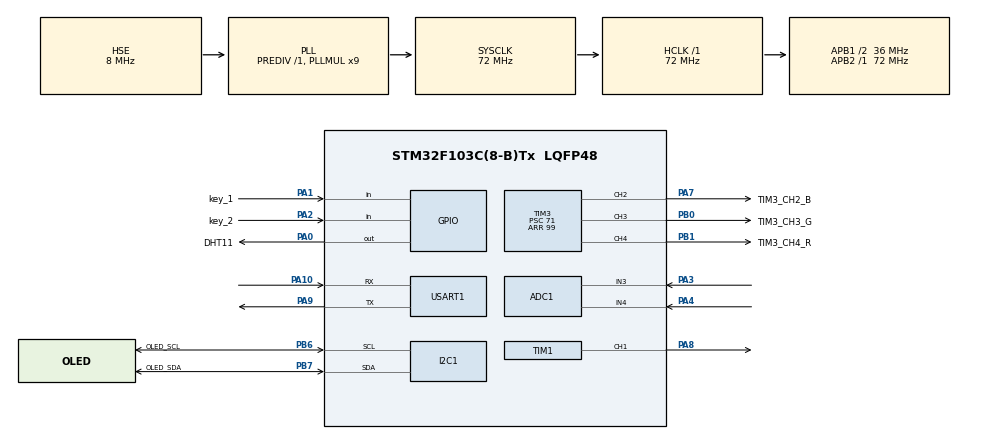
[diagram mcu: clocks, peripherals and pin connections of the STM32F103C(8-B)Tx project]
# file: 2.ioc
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ADC1.Channel-14\#ChannelRegularConversion=ADC_CHANNEL_VREFINT
ADC1.Channel-15\#ChannelRegularConversion=ADC_CHANNEL_3
ADC1.Channel-16\#ChannelRegularConversion=ADC_CHANNEL_4
ADC1.ContinuousConvMode=ENABLE
ADC1.NbrOfConversion=3
ADC1.NbrOfConversionFlag=1
ADC1.Rank-14\#ChannelRegularConversion=1
ADC1.Rank-15\#ChannelRegularConversion=2
ADC1.Rank-16\#ChannelRegularConversion=3
ADC1.SamplingTime-14\#ChannelRegularConversion=ADC_SAMPLETIME_71CYCLES_5
ADC1.SamplingTime-15\#ChannelRegularConversion=ADC_SAMPLETIME_71CYCLES_5
ADC1.SamplingTime-16\#ChannelRegularConversion=ADC_SAMPLETIME_71CYCLES_5
ADC1.master=1
Dma.ADC1.0.Direction=DMA_PERIPH_TO_MEMORY
Dma.ADC1.0.Instance=DMA1_Channel1
Dma.ADC1.0.MemDataAlignment=DMA_MDATAALIGN_HALFWORD
Dma.ADC1.0.MemInc=DMA_MINC_ENABLE
Dma.ADC1.0.Mode=DMA_CIRCULAR
Dma.ADC1.0.PeriphDataAlignment=DMA_PDATAALIGN_HALFWORD
Dma.ADC1.0.PeriphInc=DMA_PINC_DISABLE
Dma.ADC1.0.Priority=DMA_PRIORITY_LOW
Dma.Request0=ADC1
Dma.Request1=USART1_TX
Dma.Request2=USART1_RX
Dma.USART1_RX.2.Direction=DMA_PERIPH_TO_MEMORY
Dma.USART1_RX.2.Instance=DMA1_Channel5
Dma.USART1_RX.2.MemDataAlignment=DMA_MDATAALIGN_BYTE
Dma.USART1_RX.2.MemInc=DMA_MINC_ENABLE
Dma.USART1_RX.2.Mode=DMA_NORMAL
Dma.USART1_RX.2.PeriphDataAlignment=DMA_PDATAALIGN_BYTE
Dma.USART1_RX.2.PeriphInc=DMA_PINC_DISABLE
Dma.USART1_RX.2.Priority=DMA_PRIORITY_LOW
Dma.USART1_TX.1.Direction=DMA_MEMORY_TO_PERIPH
Dma.USART1_TX.1.Instance=DMA1_Channel4
Dma.USART1_TX.1.MemDataAlignment=DMA_MDATAALIGN_BYTE
Dma.USART1_TX.1.MemInc=DMA_MINC_ENABLE
Dma.USART1_TX.1.Mode=DMA_NORMAL
Dma.USART1_TX.1.PeriphDataAlignment=DMA_PDATAALIGN_BYTE
Dma.USART1_TX.1.PeriphInc=DMA_PINC_DISABLE
Dma.USART1_TX.1.Priority=DMA_PRIORITY_LOW
I2C1.I2C_Mode=I2C_Fast
Mcu.Family=STM32F1
Mcu.Name=STM32F103C(8-B)Tx
Mcu.Package=LQFP48
NVIC.DMA1_Channel1_IRQn=true\:0\:0\:false\:false\:true\:false\:true\:true
NVIC.DMA1_Channel4_IRQn=true\:0\:0\:false\:false\:true\:false\:true\:true
NVIC.DMA1_Channel5_IRQn=true\:0\:0\:false\:false\:true\:false\:true\:true
NVIC.PriorityGroup=NVIC_PRIORITYGROUP_4
NVIC.USART1_IRQn=true\:0\:0\:false\:false\:true\:false\:true\:true
PA0-WKUP.GPIO_Label=DHT11
PA0-WKUP.GPIO_ModeDefaultOutputPP=GPIO_MODE_OUTPUT_OD
PA0-WKUP.GPIO_PuPd=GPIO_PULLUP
PA0-WKUP.GPIO_Speed=GPIO_SPEED_FREQ_HIGH
PA0-WKUP.PinState=GPIO_PIN_SET
PA0-WKUP.Signal=GPIO_Output
PA1.GPIO_Label=key_1
PA1.GPIO_PuPd=GPIO_PULLUP
PA1.Signal=GPIO_Input
PA10.Mode=Asynchronous
PA10.Signal=USART1_RX
PA13.Mode=Serial_Wire
PA13.Signal=SYS_JTMS-SWDIO
PA14.Mode=Serial_Wire
PA14.Signal=SYS_JTCK-SWCLK
PA2.GPIO_Label=key_2
PA2.GPIO_PuPd=GPIO_PULLUP
PA2.Signal=GPIO_Input
PA3.Signal=ADCx_IN3
PA4.Signal=ADCx_IN4
PA7.GPIO_Label=TIM3_CH2_B
PA7.Signal=S_TIM3_CH2
PA8.Signal=S_TIM1_CH1
PA9.Mode=Asynchronous
PA9.Signal=USART1_TX
PB0.GPIO_Label=TIM3_CH3_G
PB0.Signal=S_TIM3_CH3
PB1.GPIO_Label=TIM3_CH4_R
PB1.Signal=S_TIM3_CH4
PB6.GPIO_Label=OLED_SCL
PB6.Mode=I2C
PB6.Signal=I2C1_SCL
PB7.GPIO_Label=OLED_SDA
PB7.Mode=I2C
PB7.Signal=I2C1_SDA
PD0-OSC_IN.Mode=HSE-External-Oscillator
PD0-OSC_IN.Signal=RCC_OSC_IN
PD1-OSC_OUT.Mode=HSE-External-Oscillator
PD1-OSC_OUT.Signal=RCC_OSC_OUT
ProjectManager.HeapSize=0x200
ProjectManager.StackSize=0x400
ProjectManager.TargetToolchain=MDK-ARM V5.32
RCC.ADCPresc=RCC_ADCPCLK2_DIV6
RCC.AHBFreq_Value=72000000
RCC.APB1CLKDivider=RCC_HCLK_DIV2
RCC.APB1Freq_Value=36000000
RCC.APB1TimFreq_Value=72000000
RCC.APB2Freq_Value=72000000
RCC.APB2TimFreq_Value=72000000
RCC.HCLKFreq_Value=72000000
RCC.PLLMUL=RCC_PLL_MUL9
RCC.PLLSourceVirtual=RCC_PLLSOURCE_HSE
RCC.SYSCLKFreq_VALUE=72000000
RCC.SYSCLKSource=RCC_SYSCLKSOURCE_PLLCLK
RCC.USBFreq_Value=72000000
SH.ADCx_IN3.0=ADC1_IN3,IN3
SH.ADCx_IN4.0=ADC1_IN4,IN4
SH.S_TIM1_CH1.0=TIM1_CH1,PWM Generation1 CH1
SH.S_TIM3_CH2.0=TIM3_CH2,PWM Generation2 CH2
SH.S_TIM3_CH3.0=TIM3_CH3,PWM Generation3 CH3
SH.S_TIM3_CH4.0=TIM3_CH4,PWM Generation4 CH4
TIM1.Channel-PWM\ Generation1\ CH1=TIM_CHANNEL_1
TIM1.Period=499
TIM1.Prescaler=71
TIM3.Channel-PWM\ Generation2\ CH2=TIM_CHANNEL_2
TIM3.Channel-PWM\ Generation3\ CH3=TIM_CHANNEL_3
TIM3.Channel-PWM\ Generation4\ CH4=TIM_CHANNEL_4
TIM3.Period=99
TIM3.Prescaler=71
USART1.VirtualMode=VM_ASYNC
VP_ADC1_Vref_Input.Mode=IN-Vrefint
VP_TIM3_VS_ClockSourceINT.Mode=Internal
board=custom

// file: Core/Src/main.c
/* USER CODE BEGIN Header */
/**
  ******************************************************************************
  * @file           : main.c
  * @brief          : Main program body
  ******************************************************************************
  * @attention
  *
  * Copyright (c) 2026 STMicroelectronics.
  * All rights reserved.
  *
  * This software is licensed under terms that can be found in the LICENSE file
  * in the root directory of this software component.
  * If no LICENSE file comes with this software, it is provided AS-IS.
  *
  ******************************************************************************
  */
/* USER CODE END Header */
#include "main.h"
#include "adc.h"
#include "dma.h"
#include "i2c.h"
#include "tim.h"
#include "usart.h"
#include "gpio.h"

/* USER CODE BEGIN Includes */
#include <stdio.h>
#include <string.h>
#include "dht11.h"
#include "oled.h"
/* USER CODE END Includes */

/* USER CODE BEGIN PD */

/* 宏定义 — 系统状态 / 告警阈值 / 定时器参数 */
/* USER CODE BEGIN PD */

/* 系统状态, 后面用 switch 判断 */
#define STATE_IDLE     0   /* 还没按 KEY1, 等启动 */
#define STATE_SAFE     1   /* 一切正常 */
#define STATE_ERROR1   2   /* 温度超了 */
#define STATE_ERROR2   3   /* 电压不对 */

/* 阈值 */
#define TEMP_THRESHOLD    28.0f   /* 温度阈值: 28°C */
#define VOLT_THRESHOLD    2.0f    /* 电压阈值: 2.0V */

/*ADC 通道索引 (与 CubeMX 配置的 Rank 顺序一致)*/
#define ADC_IDX_VREF      0   /* 内部基准电压, 用于反算 VDDA */
#define ADC_IDX_CH3       1   /* PA3: 电位器1 */
#define ADC_IDX_CH4       2   /* PA4: 电位器2 */
#define ADC_CHANNELS      3

/* 按键 */
#define LONG_PRESS_MS     1500    /* 长按判定时间 */

/*  蜂鸣器 PWM (TIM1 CH4, 定时器时钟 1MHz)  */
#define BUZZER_1KHZ_ARR   999     /* 1kHz: 1M / (999+1) */
#define BUZZER_2KHZ_ARR   499     /* 2kHz: 1M / (499+1) */

/*  RGB LED PWM (TIM3 CH2/3/4, ARR=99)  */
#define RGB_MAX           99      /* 满亮度占空比 */

/* USER CODE END PD */

/* USER CODE BEGIN PV */

/*  全局变量 */
/* USER CODE BEGIN PV */

/*  ADC + DMA  */
volatile uint16_t adcBuf[ADC_CHANNELS] = {0};  /* DMA 循环缓冲区 */

/* DHT11 数据 */
DHT11_Data dht11Data;
float temperature = 0.0f;          /* 当前温度 (°C) */
float vref_voltage  = 0.0f;        /* 由 VREFINT 反算的实际 VDDA */
float voltage_ch3   = 0.0f;        /* PA3 电位器电压 */
float voltage_ch4   = 0.0f;        /* PA4 电位器电压 */

/*  系统状态  */
uint8_t sysState = STATE_IDLE;     /* 当前状态 */
uint8_t sysRunning = 0;            /* 0=待启动, 1=采集中 */

/*  告警闪烁 / 蜂鸣计时  */
uint32_t lastBlinkTick = 0;
uint32_t lastBuzzerTick = 0;
uint8_t  blinkState = 0;           /* 0=LED灭, 1=LED亮 */
uint8_t  buzzerState = 0;          /* 0=静音, 1=鸣叫 */

/*  按键  */
uint8_t  key1Pressed = 0;          /* KEY1 去抖标志 */
uint32_t key2PressStart = 0;       /* KEY2 按下时刻 */
uint8_t  alarmLatched = 0;         /* FSAE 锁存: 1=告警已锁存，需手动复位＋故障排除 */

/* USER CODE END PV */

void SystemClock_Config(void);
/* USER CODE BEGIN PFP */
void  ADC_StartDMA(void);
float ADC_CalcVoltage(uint16_t adcVal);
void  Buzzer_SetFreq(uint16_t arr, uint16_t ccr);
void  Buzzer_Off(void);
void  RGB_SetColor(uint16_t r, uint16_t g, uint16_t b);
void  RGB_Off(void);
void  Key_Scan(void);
void  Alarm_Handler(void);
void  OLED_UpdateDisplay(void);
/* USER CODE END PFP */

/* USER CODE BEGIN 0 */

int fputc(int ch, FILE *f)
{
    HAL_UART_Transmit(&huart1, (uint8_t *)&ch, 1, HAL_MAX_DELAY);
    return ch;
}

/* USER CODE END 0 */

int main(void)
{

  /* MCU Configuration--------------------------------------------------------*/

  /* Reset of all peripherals, Initializes the Flash interface and the Systick. */
  HAL_Init();

  /* USER CODE BEGIN Init */

  /* 强制复位 I2C1 外设, 防止总线挂死后复位也无法恢复 */
  __HAL_RCC_I2C1_CLK_ENABLE();
  __HAL_RCC_I2C1_FORCE_RESET();
  __HAL_RCC_I2C1_RELEASE_RESET();

  /* USER CODE END Init */

  /* Configure the system clock */
  SystemClock_Config();

  /* Initialize all configured peripherals */
  MX_GPIO_Init();
  MX_DMA_Init();
  MX_I2C1_Init();
  MX_ADC1_Init();
  MX_USART1_UART_Init();
  MX_TIM3_Init();
  MX_TIM1_Init();
  /* USER CODE BEGIN 2 */

  /* 初始化 DWT */
  CoreDebug->DEMCR |= CoreDebug_DEMCR_TRCENA_Msk;
  DWT->CYCCNT = 0;
  DWT->CTRL |= DWT_CTRL_CYCCNTENA_Msk;

  /*  初始化 OLED 并显示欢迎界面  */
  OLED_Init();
  OLED_ShowString(0, 0, "System Ready", 8);
  OLED_ShowString(0, 2, "Press KEY1 Start", 8);
  HAL_Delay(1000);

  /*  启动 ADC + DMA 连续采集  */
  ADC_StartDMA();

  /*  初始状态: 关闭所有输出  */
  RGB_Off();
  Buzzer_Off();

  printf("\r\n========== FSAE Signal Monitor ==========\r\n");
  printf("H/W: STM32F103 | HSE 72MHz | DHT11 + ADCx2\r\n");
  printf("Thresholds: Temp>28C | Volt<2.0V\r\n");
  printf("Press KEY1 to start acquisition\r\n");

  /* USER CODE END 2 */

  /* Infinite loop */
  /* USER CODE BEGIN WHILE */
  while (1)
  {
    /*  按键扫描  */
    Key_Scan();

    if (sysRunning)
    {
        /* 读取 DHT11  */
        if (DHT11_Read(&dht11Data) == 0)
            temperature = (float)dht11Data.temperature;

        /* 计算各路电压 */
        /* 先根据 VREFINT 校准计算 VDDA */
        uint16_t vref_adc = adcBuf[ADC_IDX_VREF];
        vref_voltage = 1.20f * 4096.0f / (float)vref_adc;

        /* 各通道电压 = ADC值 * VDDA / 4096 */
        voltage_ch3 = ADC_CalcVoltage(adcBuf[ADC_IDX_CH3]);
        voltage_ch4 = ADC_CalcVoltage(adcBuf[ADC_IDX_CH4]);

        /* ── 告警判断 (FSAE 锁存逻辑) ── */

        /* 未锁存时才检测新告警 */
        if (!alarmLatched)
        {
            if (temperature > TEMP_THRESHOLD)
            {
                sysState = STATE_ERROR1;
                alarmLatched = 1;   /* 锁存! 即使温度恢复正常也不自动清除 */
            }
            else if (voltage_ch3 < VOLT_THRESHOLD || voltage_ch4 < VOLT_THRESHOLD)
            {
                sysState = STATE_ERROR2;
                alarmLatched = 1;   /* 锁存! */
            }
            else
            {
                sysState = STATE_SAFE;
            }
        }
        /* 已锁存 → 保持告警状态, 不管当前读数是否恢复 */

        /*  告警处理 (LED + 蜂鸣器)  */
        Alarm_Handler();

        /*  OLED 显示更新  */
        OLED_UpdateDisplay();

        /*  串口打印  */
        {
            const char *stateStr = "IDLE";
            if (sysState == STATE_SAFE)   stateStr = "SAFE";
            if (sysState == STATE_ERROR1) stateStr = "ERROR1";
            if (sysState == STATE_ERROR2) stateStr = "ERROR2";
            printf("Temp:%dC  V3:%d.%02dV  V4:%d.%02dV  State:%s\r\n",
                   (int)temperature,
                   (int)voltage_ch3, (int)(voltage_ch3 * 100) % 100,
                   (int)voltage_ch4, (int)(voltage_ch4 * 100) % 100,
                   stateStr);
        }
    }
    else
    {
        /* 未启动时显示提示 */
        OLED_Clear();
        OLED_ShowString(0, 2, "Press KEY1", 8);
        OLED_ShowString(0, 3, "to Start", 8);
    }

    HAL_Delay(200);  /* 主循环周期 ~200ms */
    /* USER CODE END WHILE */

  }
}

void SystemClock_Config(void)
{
  RCC_OscInitTypeDef RCC_OscInitStruct = {0};
  RCC_ClkInitTypeDef RCC_ClkInitStruct = {0};
  RCC_PeriphCLKInitTypeDef PeriphClkInit = {0};

  /** Initializes the RCC Oscillators according to the specified parameters
  * in the RCC_OscInitTypeDef structure.
  */
  RCC_OscInitStruct.OscillatorType = RCC_OSCILLATORTYPE_HSE;
  RCC_OscInitStruct.HSEState = RCC_HSE_ON;
  RCC_OscInitStruct.HSEPredivValue = RCC_HSE_PREDIV_DIV1;
  RCC_OscInitStruct.HSIState = RCC_HSI_ON;
  RCC_OscInitStruct.PLL.PLLState = RCC_PLL_ON;
  RCC_OscInitStruct.PLL.PLLSource = RCC_PLLSOURCE_HSE;
  RCC_OscInitStruct.PLL.PLLMUL = RCC_PLL_MUL9;
  if (HAL_RCC_OscConfig(&RCC_OscInitStruct) != HAL_OK)
  {
    Error_Handler();
  }

  /** Initializes the CPU, AHB and APB buses clocks
  */
  RCC_ClkInitStruct.ClockType = RCC_CLOCKTYPE_HCLK|RCC_CLOCKTYPE_SYSCLK
                              |RCC_CLOCKTYPE_PCLK1|RCC_CLOCKTYPE_PCLK2;
  RCC_ClkInitStruct.SYSCLKSource = RCC_SYSCLKSOURCE_PLLCLK;
  RCC_ClkInitStruct.AHBCLKDivider = RCC_SYSCLK_DIV1;
  RCC_ClkInitStruct.APB1CLKDivider = RCC_HCLK_DIV2;
  RCC_ClkInitStruct.APB2CLKDivider = RCC_HCLK_DIV1;

  if (HAL_RCC_ClockConfig(&RCC_ClkInitStruct, FLASH_LATENCY_2) != HAL_OK)
  {
    Error_Handler();
  }
  PeriphClkInit.PeriphClockSelection = RCC_PERIPHCLK_ADC;
  PeriphClkInit.AdcClockSelection = RCC_ADCPCLK2_DIV6;
  if (HAL_RCCEx_PeriphCLKConfig(&PeriphClkInit) != HAL_OK)
  {
    Error_Handler();
  }
}

/* USER CODE BEGIN 4 */

/* ================================================================
 * 启动 ADC + DMA 连续循环采集 (ContinuousConvMode=ENABLE)
 * ================================================================ */
void ADC_StartDMA(void)
{
    HAL_ADC_Start_DMA(&hadc1, (uint32_t *)adcBuf, ADC_CHANNELS);
}

/* ================================================================
 * 根据 ADC 值计算电压 (基于 VREFINT 校准)
 * ================================================================ */
float ADC_CalcVoltage(uint16_t adcVal)
{
    return (float)adcVal * vref_voltage / 4096.0f;
}

/* ================================================================
 * 蜂鸣器: 设置频率 (TIM1 CH1, PA8)
 *   arr: 自动重装载值
 *   ccr: 比较值 (占空比 50%: arr/2)
 * ================================================================ */
void Buzzer_SetFreq(uint16_t arr, uint16_t ccr)
{
    __HAL_TIM_SET_AUTORELOAD(&htim1, arr);
    __HAL_TIM_SET_COMPARE(&htim1, TIM_CHANNEL_1, ccr);
    HAL_TIM_PWM_Start(&htim1, TIM_CHANNEL_1);
}

void Buzzer_Off(void)
{
    HAL_TIM_PWM_Stop(&htim1, TIM_CHANNEL_1);
    __HAL_TIM_SET_COMPARE(&htim1, TIM_CHANNEL_1, 0);
}

/* ================================================================
 * RGB LED 控制 (TIM3 CH2=蓝PA7, CH3=绿PB0, CH4=红PB1)
 *   ARR=99 → 占空比范围 0~99
 * ================================================================ */
void RGB_SetColor(uint16_t r, uint16_t g, uint16_t b)
{
    __HAL_TIM_SET_COMPARE(&htim3, TIM_CHANNEL_4, r);
    __HAL_TIM_SET_COMPARE(&htim3, TIM_CHANNEL_3, g);
    __HAL_TIM_SET_COMPARE(&htim3, TIM_CHANNEL_2, b);
    HAL_TIM_PWM_Start(&htim3, TIM_CHANNEL_2);
    HAL_TIM_PWM_Start(&htim3, TIM_CHANNEL_3);
    HAL_TIM_PWM_Start(&htim3, TIM_CHANNEL_4);
}

void RGB_Off(void)
{
    HAL_TIM_PWM_Stop(&htim3, TIM_CHANNEL_2);
    HAL_TIM_PWM_Stop(&htim3, TIM_CHANNEL_3);
    HAL_TIM_PWM_Stop(&htim3, TIM_CHANNEL_4);
    __HAL_TIM_SET_COMPARE(&htim3, TIM_CHANNEL_2, 0);
    __HAL_TIM_SET_COMPARE(&htim3, TIM_CHANNEL_3, 0);
    __HAL_TIM_SET_COMPARE(&htim3, TIM_CHANNEL_4, 0);
}

/* ================================================================
 * 按键扫描
 *   KEY1 (PA1): 短按 → 启动采集
 *   KEY2 (PA2): 长按 > LONG_PRESS_MS → 复位告警锁存
 *     仅当故障已排除 (温度/电压均正常) 时才允许清除 (FSAE 安全回路规范)
 * ═══════════════════════════════════════════════════════════════════════════ */
void Key_Scan(void)
{
    /* ── KEY1: 按下启动采集 ── */
    if (HAL_GPIO_ReadPin(key_1_GPIO_Port, key_1_Pin) == GPIO_PIN_RESET)
    {
        HAL_Delay(20); /* 消抖 */
        if (HAL_GPIO_ReadPin(key_1_GPIO_Port, key_1_Pin) == GPIO_PIN_RESET)
        {
            if (!key1Pressed)
            {
                key1Pressed = 1;
                sysRunning = 1;
                sysState = STATE_SAFE;
                OLED_Clear();
                printf("KEY1 Pressed - Acquisition Started\r\n");
            }
        }
    }
    else { key1Pressed = 0; }

    /* ── KEY2: 长按复位锁存 ── */
    if (HAL_GPIO_ReadPin(key_2_GPIO_Port, key_2_Pin) == GPIO_PIN_RESET)
    {
        if (key2PressStart == 0)
        {
            key2PressStart = HAL_GetTick();
        }
        else if ((HAL_GetTick() - key2PressStart) > LONG_PRESS_MS)
        {
            if (temperature <= TEMP_THRESHOLD
                && voltage_ch3 >= VOLT_THRESHOLD
                && voltage_ch4 >= VOLT_THRESHOLD)
            {
                alarmLatched = 0;
                sysState = STATE_SAFE;
                RGB_Off();
                Buzzer_Off();
                OLED_Clear();
                printf("KEY2 Long Press - Alarm Reset OK\r\n");
            }
            else
            {
                printf("KEY2 Long Press - FAIL: Fault still present!\r\n");
            }
            key2PressStart = 0;
        }
    }
    else { key2PressStart = 0; }
}

/* ================================================================
 * 告警处理: LED 闪烁 + 蜂鸣器
 *
 * SAFE:    绿灯常亮,            蜂鸣器静音
 * ERROR1:  红灯 1Hz 闪烁,       蜂鸣器 1kHz 间歇 (0.5s 周期)
 * ERROR2:  蓝灯 2Hz 闪烁,       蜂鸣器 2kHz 间歇 (0.2s 周期)
 * ═══════════════════════════════════════════════════════════════════════════ */
void Alarm_Handler(void)
{
    uint32_t now = HAL_GetTick();

    switch (sysState)
    {
    case STATE_SAFE:
        RGB_SetColor(0, RGB_MAX, 0);
        Buzzer_Off();
        break;

    case STATE_ERROR1:
    {
        uint32_t half = 500;
        if ((now - lastBlinkTick) >= half) { lastBlinkTick = now; blinkState = !blinkState; }
        blinkState ? RGB_SetColor(RGB_MAX, 0, 0) : RGB_Off();

        if ((now - lastBuzzerTick) >= half) { lastBuzzerTick = now; buzzerState = !buzzerState; }
        buzzerState ? Buzzer_SetFreq(BUZZER_1KHZ_ARR, BUZZER_1KHZ_ARR / 2) : Buzzer_Off();
        break;
    }

    case STATE_ERROR2:
    {
        uint32_t half = 250, buzHalf = 200;
        if ((now - lastBlinkTick) >= half) { lastBlinkTick = now; blinkState = !blinkState; }
        blinkState ? RGB_SetColor(0, 0, RGB_MAX) : RGB_Off();

        if ((now - lastBuzzerTick) >= buzHalf) { lastBuzzerTick = now; buzzerState = !buzzerState; }
        buzzerState ? Buzzer_SetFreq(BUZZER_2KHZ_ARR, BUZZER_2KHZ_ARR / 2) : Buzzer_Off();
        break;
    }

    default: break;
    }
}

/* ═══════════════════════════════════════════════════════════════════════════
 * OLED_UpdateDisplay — 刷新 OLED 显示
 *
 * 布局 (128×64):
 *   Line 0: Temp: xx.x C
 *   Line 1: V_CH3: x.xxx V
 *   Line 2: V_CH4: x.xxx V
 *   Line 3: Tth: 28 C
 *   Line 4: Vth: 2.00 V
 *   Line 6-7: 状态 (16px 大字) — SAFE / ERROR1 / ERROR2
 * ═══════════════════════════════════════════════════════════════════════════ */
void OLED_UpdateDisplay(void)
{
    OLED_Clear();

    /* 传感器数据 */
    OLED_ShowString(0, 0, "Temp:", 8);
    OLED_ShowFloat(48, 0, temperature, 3, 1, 8);
    OLED_ShowChar(96, 0, 'C', 8);

    OLED_ShowString(0, 1, "V_CH3:", 8);
    OLED_ShowFloat(48, 1, voltage_ch3, 1, 3, 8);
    OLED_ShowChar(96, 1, 'V', 8);

    OLED_ShowString(0, 2, "V_CH4:", 8);
    OLED_ShowFloat(48, 2, voltage_ch4, 1, 3, 8);
    OLED_ShowChar(96, 2, 'V', 8);

    /* 阈值 */
    OLED_ShowString(0, 3, "Tth:", 8);
    OLED_ShowFloat(30, 3, TEMP_THRESHOLD, 2, 0, 8);
    OLED_ShowChar(54, 3, 'C', 8);

    OLED_ShowString(0, 4, "Vth:", 8);
    OLED_ShowFloat(30, 4, VOLT_THRESHOLD, 1, 2, 8);
    OLED_ShowChar(54, 4, 'V', 8);

    /* 状态 (锁存未清除时显示 LATCHED) */
    switch (sysState)
    {
    case STATE_SAFE:
        OLED_Printf(0, 6, 16, alarmLatched ? "LATCHED" : "SAFE");
        break;
    case STATE_ERROR1:
        OLED_Printf(0, 6, 16, "ERROR1");
        break;
    case STATE_ERROR2:
        OLED_Printf(0, 6, 16, "ERROR2");
        break;
    default: break;
    }
}

/* USER CODE END 4 */

void Error_Handler(void)
{
  /* USER CODE BEGIN Error_Handler_Debug */
  /* 进入错误处理时 PC13 LED 快速闪烁 (5Hz) */
  __HAL_RCC_GPIOC_CLK_ENABLE();
  GPIO_InitTypeDef gpio = {0};
  gpio.Pin = GPIO_PIN_13;
  gpio.Mode = GPIO_MODE_OUTPUT_PP;
  gpio.Pull = GPIO_NOPULL;
  gpio.Speed = GPIO_SPEED_FREQ_LOW;
  HAL_GPIO_Init(GPIOC, &gpio);
  __disable_irq();
  while (1)
  {
    HAL_GPIO_TogglePin(GPIOC, GPIO_PIN_13);
    HAL_Delay(100);
  }
  /* USER CODE END Error_Handler_Debug */
}
